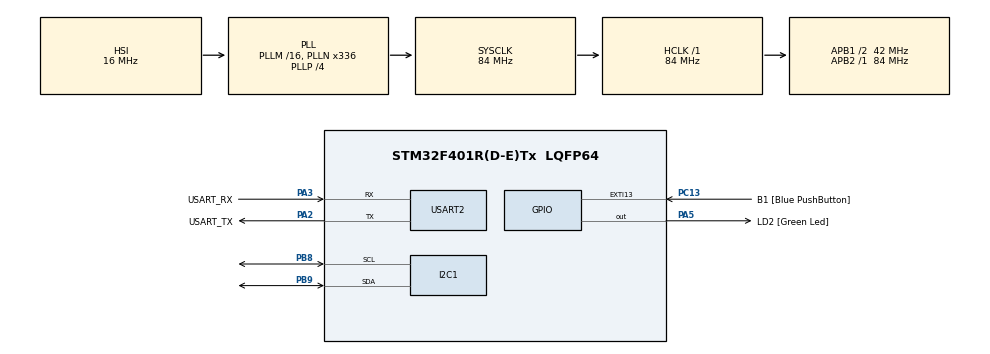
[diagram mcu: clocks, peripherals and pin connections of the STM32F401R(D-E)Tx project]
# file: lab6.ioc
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Mcu.Family=STM32F4
Mcu.Name=STM32F401R(D-E)Tx
Mcu.Package=LQFP64
NVIC.PriorityGroup=NVIC_PRIORITYGROUP_0
PA13.GPIO_Label=TMS
PA13.Mode=Serial_Wire
PA13.Signal=SYS_JTMS-SWDIO
PA14.GPIO_Label=TCK
PA14.Mode=Serial_Wire
PA14.Signal=SYS_JTCK-SWCLK
PA2.GPIO_Label=USART_TX
PA2.GPIO_Mode=GPIO_MODE_AF_PP
PA2.GPIO_PuPd=GPIO_NOPULL
PA2.GPIO_Speed=GPIO_SPEED_FREQ_LOW
PA2.Mode=Asynchronous
PA2.Signal=USART2_TX
PA3.GPIO_Label=USART_RX
PA3.GPIO_Mode=GPIO_MODE_AF_PP
PA3.GPIO_PuPd=GPIO_NOPULL
PA3.GPIO_Speed=GPIO_SPEED_FREQ_LOW
PA3.Mode=Asynchronous
PA3.Signal=USART2_RX
PA5.GPIO_Label=LD2 [Green Led]
PA5.GPIO_Mode=GPIO_MODE_OUTPUT_PP
PA5.GPIO_PuPd=GPIO_NOPULL
PA5.GPIO_Speed=GPIO_SPEED_FREQ_LOW
PA5.Signal=GPIO_Output
PB3.GPIO_Label=SWO
PB3.Signal=SYS_JTDO-SWO
PB8.Mode=I2C
PB8.Signal=I2C1_SCL
PB9.Mode=I2C
PB9.Signal=I2C1_SDA
PC13-ANTI_TAMP.GPIO_Label=B1 [Blue PushButton]
PC13-ANTI_TAMP.GPIO_ModeDefaultEXTI=GPIO_MODE_IT_FALLING
PC13-ANTI_TAMP.GPIO_PuPd=GPIO_NOPULL
PC13-ANTI_TAMP.Signal=GPXTI13
PC14-OSC32_IN.Mode=LSE-External-Oscillator
PC14-OSC32_IN.Signal=RCC_OSC32_IN
PC15-OSC32_OUT.Mode=LSE-External-Oscillator
PC15-OSC32_OUT.Signal=RCC_OSC32_OUT
PH0\ -\ OSC_IN.Mode=HSE-External-Clock-Source
PH0\ -\ OSC_IN.Signal=RCC_OSC_IN
PH1\ -\ OSC_OUT.Mode=HSE-External-Clock-Source
PH1\ -\ OSC_OUT.Signal=RCC_OSC_OUT
ProjectManager.HeapSize=0x200
ProjectManager.StackSize=0x400
ProjectManager.TargetToolchain=STM32CubeIDE
RCC.48MHZClocksFreq_Value=48000000
RCC.AHBFreq_Value=84000000
RCC.APB1CLKDivider=RCC_HCLK_DIV2
RCC.APB1Freq_Value=42000000
RCC.APB1TimFreq_Value=84000000
RCC.APB2Freq_Value=84000000
RCC.APB2TimFreq_Value=84000000
RCC.CortexFreq_Value=84000000
RCC.HCLKFreq_Value=84000000
RCC.HSE_VALUE=8000000
RCC.HSI_VALUE=16000000
RCC.PLLN=336
RCC.PLLP=RCC_PLLP_DIV4
RCC.PLLQ=7
RCC.SYSCLKFreq_VALUE=84000000
RCC.SYSCLKSource=RCC_SYSCLKSOURCE_PLLCLK
RCC.VCOOutputFreq_Value=336000000
USART2.VirtualMode=VM_ASYNC
board=NUCLEO-F401RE

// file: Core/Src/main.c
/* USER CODE BEGIN Header */
/**
  ******************************************************************************
  * @file           : main.c
  * @brief          : Main program body
  ******************************************************************************
  * @attention
  *
  * <h2><center>&copy; Copyright (c) 2020 STMicroelectronics.
  * All rights reserved.</center></h2>
  *
  * This software component is licensed by ST under BSD 3-Clause license,
  * the "License"; You may not use this file except in compliance with the
  * License. You may obtain a copy of the License at:
  *                        opensource.org/licenses/BSD-3-Clause
  *
  ******************************************************************************
  */
/* USER CODE END Header */

#include "main.h"

/* USER CODE BEGIN Includes */
#include <string.h>
#include <stdio.h>
/* USER CODE END Includes */

I2C_HandleTypeDef hi2c1;

UART_HandleTypeDef huart2;

/* USER CODE BEGIN PV */
static const uint8_t TMP102_ADDR = 0x48 << 1; // Use 8-bit address
static const uint8_t PHOTO = 0x40;
/* USER CODE END PV */

void SystemClock_Config(void);
static void MX_GPIO_Init(void);
static void MX_USART2_UART_Init(void);
static void MX_I2C1_Init(void);

int main(void)
{
  /* USER CODE BEGIN 1 */
	HAL_StatusTypeDef ret;
	uint8_t buf[12];

  /* USER CODE END 1 */

  /* MCU Configuration--------------------------------------------------------*/

  /* Reset of all peripherals, Initializes the Flash interface and the Systick. */
  HAL_Init();

  /* Configure the system clock */
  SystemClock_Config();

  /* Initialize all configured peripherals */
  MX_GPIO_Init();
  MX_USART2_UART_Init();
  MX_I2C1_Init();

  /* Infinite loop */
  /* USER CODE BEGIN WHILE */
  while (1)
  {
	    // Tell TMP102 that we want to read from the temperature register
	    buf[0] = PHOTO;
	    ret = HAL_I2C_Master_Transmit(&hi2c1, TMP102_ADDR, buf, 1, HAL_MAX_DELAY);
	    if ( ret != HAL_OK ) {
	      strcpy((char*)buf, "Error Tx\r\n");
	    } else {

	      // Read 2 bytes from the temperature register
	      ret = HAL_I2C_Master_Receive(&hi2c1, TMP102_ADDR, buf, 2, HAL_MAX_DELAY);
	      if ( ret != HAL_OK ) {
	        strcpy((char*)buf, "Error Rx\r\n");
	      } else {

	    	unsigned int value = (unsigned int)buf[1];
	        sprintf((char*)buf,
	              "%d C\r\n",
	              value);
	      }
	    }

	    // Send out buffer (temperature or error message)
	    HAL_UART_Transmit(&huart2, buf, strlen((char*)buf), HAL_MAX_DELAY);

	    // Wait
	    HAL_Delay(20000);

    /* USER CODE END WHILE */

  }
}

void SystemClock_Config(void)
{
  RCC_OscInitTypeDef RCC_OscInitStruct = {0};
  RCC_ClkInitTypeDef RCC_ClkInitStruct = {0};

  /** Configure the main internal regulator output voltage
  */
  __HAL_RCC_PWR_CLK_ENABLE();
  __HAL_PWR_VOLTAGESCALING_CONFIG(PWR_REGULATOR_VOLTAGE_SCALE2);
  /** Initializes the CPU, AHB and APB busses clocks
  */
  RCC_OscInitStruct.OscillatorType = RCC_OSCILLATORTYPE_HSI;
  RCC_OscInitStruct.HSIState = RCC_HSI_ON;
  RCC_OscInitStruct.HSICalibrationValue = RCC_HSICALIBRATION_DEFAULT;
  RCC_OscInitStruct.PLL.PLLState = RCC_PLL_ON;
  RCC_OscInitStruct.PLL.PLLSource = RCC_PLLSOURCE_HSI;
  RCC_OscInitStruct.PLL.PLLM = 16;
  RCC_OscInitStruct.PLL.PLLN = 336;
  RCC_OscInitStruct.PLL.PLLP = RCC_PLLP_DIV4;
  RCC_OscInitStruct.PLL.PLLQ = 7;
  if (HAL_RCC_OscConfig(&RCC_OscInitStruct) != HAL_OK)
  {
    Error_Handler();
  }
  /** Initializes the CPU, AHB and APB busses clocks
  */
  RCC_ClkInitStruct.ClockType = RCC_CLOCKTYPE_HCLK|RCC_CLOCKTYPE_SYSCLK
                              |RCC_CLOCKTYPE_PCLK1|RCC_CLOCKTYPE_PCLK2;
  RCC_ClkInitStruct.SYSCLKSource = RCC_SYSCLKSOURCE_PLLCLK;
  RCC_ClkInitStruct.AHBCLKDivider = RCC_SYSCLK_DIV1;
  RCC_ClkInitStruct.APB1CLKDivider = RCC_HCLK_DIV2;
  RCC_ClkInitStruct.APB2CLKDivider = RCC_HCLK_DIV1;

  if (HAL_RCC_ClockConfig(&RCC_ClkInitStruct, FLASH_LATENCY_2) != HAL_OK)
  {
    Error_Handler();
  }
}

static void MX_I2C1_Init(void)
{

  hi2c1.Instance = I2C1;
  hi2c1.Init.ClockSpeed = 100000;
  hi2c1.Init.DutyCycle = I2C_DUTYCYCLE_2;
  hi2c1.Init.OwnAddress1 = 0;
  hi2c1.Init.AddressingMode = I2C_ADDRESSINGMODE_7BIT;
  hi2c1.Init.DualAddressMode = I2C_DUALADDRESS_DISABLE;
  hi2c1.Init.OwnAddress2 = 0;
  hi2c1.Init.GeneralCallMode = I2C_GENERALCALL_DISABLE;
  hi2c1.Init.NoStretchMode = I2C_NOSTRETCH_DISABLE;
  if (HAL_I2C_Init(&hi2c1) != HAL_OK)
  {
    Error_Handler();
  }

}

static void MX_USART2_UART_Init(void)
{

  huart2.Instance = USART2;
  huart2.Init.BaudRate = 115200;
  huart2.Init.WordLength = UART_WORDLENGTH_8B;
  huart2.Init.StopBits = UART_STOPBITS_1;
  huart2.Init.Parity = UART_PARITY_NONE;
  huart2.Init.Mode = UART_MODE_TX_RX;
  huart2.Init.HwFlowCtl = UART_HWCONTROL_NONE;
  huart2.Init.OverSampling = UART_OVERSAMPLING_16;
  if (HAL_UART_Init(&huart2) != HAL_OK)
  {
    Error_Handler();
  }

}

static void MX_GPIO_Init(void)
{
  GPIO_InitTypeDef GPIO_InitStruct = {0};

  /* GPIO Ports Clock Enable */
  __HAL_RCC_GPIOC_CLK_ENABLE();
  __HAL_RCC_GPIOH_CLK_ENABLE();
  __HAL_RCC_GPIOA_CLK_ENABLE();
  __HAL_RCC_GPIOB_CLK_ENABLE();

  /*Configure GPIO pin Output Level */
  HAL_GPIO_WritePin(LD2_GPIO_Port, LD2_Pin, GPIO_PIN_RESET);

  /*Configure GPIO pin : B1_Pin */
  GPIO_InitStruct.Pin = B1_Pin;
  GPIO_InitStruct.Mode = GPIO_MODE_IT_FALLING;
  GPIO_InitStruct.Pull = GPIO_NOPULL;
  HAL_GPIO_Init(B1_GPIO_Port, &GPIO_InitStruct);

  /*Configure GPIO pin : LD2_Pin */
  GPIO_InitStruct.Pin = LD2_Pin;
  GPIO_InitStruct.Mode = GPIO_MODE_OUTPUT_PP;
  GPIO_InitStruct.Pull = GPIO_NOPULL;
  GPIO_InitStruct.Speed = GPIO_SPEED_FREQ_LOW;
  HAL_GPIO_Init(LD2_GPIO_Port, &GPIO_InitStruct);

}

void Error_Handler(void)
{
}

/************************ (C) COPYRIGHT STMicroelectronics *****END OF FILE****/
